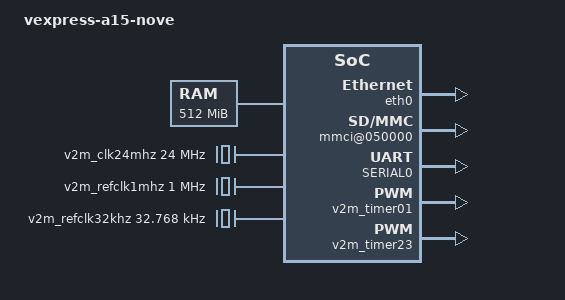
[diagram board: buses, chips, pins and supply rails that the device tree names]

#include <dt-bindings/interrupt-controller/arm-gic.h>

/ {
	compatible = "arm,vexpress";
	model = "vexpress-a15-nove";
	interrupt-parent = <&gic>;
	#address-cells = <2>;
	#size-cells = <2>;

	chosen {
		initrd-start = <0x0 0x81000000>;
		initrd-end = <0x0 0x82000000>;
	};
	aliases { };

	cpus {
		#address-cells = <1>;
		#size-cells = <0>;

		cpu@0 {
			device_type = "cpu";
			compatible = "arm,cortex-a15";
			reg = <0>;
			enable-method = "spin-table";
			cpu-clear-addr = <0x1C010034>;
			cpu-release-addr = <0x1C010030>;
		};

		cpu@1 {
			device_type = "cpu";
			compatible = "arm,cortex-a15";
			reg = <1>;
			enable-method = "spin-table";
			cpu-clear-addr = <0x1C010034>;
			cpu-release-addr = <0x1C010030>;
		};
	};

	memory {
		device_type = "memory"; 
		reg = <0x0 0x80000000 0x0 0x20000000>; /* 512 MB */
	};

	gic: gic { /* Generic Interrupt Controller */
      		compatible = "arm,cortex-a9-gic";
		reg = <0x0 0x2C001000 0x0 0x1000>,   /* GIC Dist */
		      <0x0 0x2C002000 0x0 0x1000>; /* GIC CPU */
		#interrupt-cells = <3>;
		interrupt-controller;
	};

	dcc {
		compatible = "arm,vexpress,config-bus";
		arm,vexpress,config-bridge = <&v2m_sysreg>;

		osc@0 {
			/* CPU PLL reference clock */
			compatible = "arm,vexpress-osc";
			arm,vexpress-sysreg,func = <1 0>;
			freq-range = <50000000 60000000>;
			#clock-cells = <0>;
			clock-output-names = "oscclk0";
		};

		osc@4 {
			/* Multiplexed AXI master clock */
			compatible = "arm,vexpress-osc";
			arm,vexpress-sysreg,func = <1 4>;
			freq-range = <20000000 40000000>;
			#clock-cells = <0>;
			clock-output-names = "oscclk4";
		};

		oscclk5: osc@5 {
			/* HDLCD PLL reference clock */
			compatible = "arm,vexpress-osc";
			arm,vexpress-sysreg,func = <1 5>;
			freq-range = <23750000 165000000>;
			#clock-cells = <0>;
			clock-output-names = "oscclk5";
		};

		smbclk: osc@6 {
			/* SMB clock */
			compatible = "arm,vexpress-osc";
			arm,vexpress-sysreg,func = <1 6>;
			freq-range = <20000000 50000000>;
			#clock-cells = <0>;
			clock-output-names = "oscclk6";
		};

		oscclk7: osc@7 {
			/* SYS PLL reference clock */
			compatible = "arm,vexpress-osc";
			arm,vexpress-sysreg,func = <1 7>;
			freq-range = <20000000 60000000>;
			#clock-cells = <0>;
			clock-output-names = "oscclk7";
		};

		osc@8 {
			/* DDR2 PLL reference clock */
			compatible = "arm,vexpress-osc";
			arm,vexpress-sysreg,func = <1 8>;
			freq-range = <40000000 40000000>;
			#clock-cells = <0>;
			clock-output-names = "oscclk8";
		};
	};

	smb {
		#address-cells = <1>;
		#size-cells = <1>;
		compatible = "simple-bus";

		motherboard {
			#address-cells = <1>;
			#size-cells = <1>;
			compatible = "simple-bus";

			eth0 {
				compatible = "smc91x";
				reg = <0x1A000000 0x1000>;
				interrupts = <GIC_SPI 15 IRQ_TYPE_LEVEL_HIGH>;
				switch = "br0";
			};

			iofpga {
				#address-cells = <1>;
				#size-cells = <1>;

				v2m_sysreg: sysreg@010000 { /* System Registers */
			      		compatible = "arm,vexpress-sysreg";
			      		reg = <0x1C010000 0x1000>;
				};

				v2m_sysctl: sysctl@020000 { /* System Controller */
			      		compatible = "arm,sp810";
			      		reg = <0x1C020000 0x1000>;
					clocks = <&v2m_refclk32khz>, <&v2m_refclk1mhz>, <&smbclk>;
					clock-names = "refclk", "timclk", "apb_pclk";
					#clock-cells = <1>;
					clock-output-names = "timerclken0", "timerclken1", "timerclken2", "timerclken3";
				};

				mmci@050000 { /* Multimedia Card Interface */
			      		compatible = "arm,pl180";
			      		reg = <0x1C050000 0x1000>;
					interrupts = <GIC_SPI 9 IRQ_TYPE_LEVEL_HIGH>,
						     <GIC_SPI 10 IRQ_TYPE_LEVEL_HIGH>;
					clocks = <&v2m_clk24mhz>, <&smbclk>;
					clock-names = "mclk", "apb_pclk";
				};

				kmi@060000 { /* Keyboard */
			      		compatible = "ambakmi";
			      		reg = <0x1C060000 0x1000>;
					interrupts = <GIC_SPI 12 IRQ_TYPE_LEVEL_HIGH>;
					clocks = <&v2m_clk24mhz>, <&smbclk>;
					clock-names = "KMIREFCLK", "apb_pclk";
				};

				kmi@070000 { /* Mouse */
			      		compatible = "ambakmi";
			      		reg = <0x1C070000 0x1000>;
					interrupts = <GIC_SPI 13 IRQ_TYPE_LEVEL_HIGH>;
					clocks = <&v2m_clk24mhz>, <&smbclk>;
					clock-names = "KMIREFCLK", "apb_pclk";
				};

				SERIAL0: v2m_serial0: uart@090000 {
			      		compatible = "arm,pl011";
			      		reg = <0x1C090000 0x1000>;
					clock-frequency = <24000000>;
					interrupts = <GIC_SPI 5 IRQ_TYPE_LEVEL_HIGH>;
					clocks = <&v2m_oscclk2>, <&smbclk>;
					clock-names = "uartclk", "apb_pclk";
				};

				v2m_timer01: timer@110000 {
			      		compatible = "arm,sp804";
			      		reg = <0x1C110000 0x1000>;
					interrupts = <GIC_SPI 2 IRQ_TYPE_LEVEL_HIGH>;
					clocks = <&v2m_sysctl 0>, <&v2m_refclk32khz>, <&smbclk>;
					clock-names = "timclken1", "timclken2", "apb_pclk";
				};

				v2m_timer23: timer@120000 {
			      		compatible = "arm,sp804";
			      		reg = <0x1C120000 0x1000>;
					interrupts = <GIC_SPI 3 IRQ_TYPE_LEVEL_HIGH>;
					clocks = <&v2m_sysctl 2>, <&v2m_refclk32khz>, <&smbclk>;
					clock-names = "timclken1", "timclken2", "apb_pclk";
				};

				RTC0: rtc@170000 {
			      		compatible = "arm,pl031";
			      		reg = <0x1C170000 0x1000>;
					interrupts = <GIC_SPI 4 IRQ_TYPE_LEVEL_HIGH>;
					clocks = <&smbclk>;
					clock-names = "apb_pclk";
				};

				clcd@1f0000 {
			      		compatible = "arm,pl111";
			      		reg = <0x1C1F0000 0x1000>;
					clocks = <&v2m_oscclk1>, <&smbclk>;
					clock-names = "clcdclk", "apb_pclk";
					use_dma = <0>;
					framebuffer = <0x18000000 0x00180000>;
				};
			};

			v2m_clk24mhz: clk24mhz {
				compatible = "fixed-clock";
				#clock-cells = <0>;
				clock-frequency = <24000000>;
				clock-output-names = "v2m:clk24mhz";
			};

			v2m_refclk1mhz: refclk1mhz {
				compatible = "fixed-clock";
				#clock-cells = <0>;
				clock-frequency = <1000000>;
				clock-output-names = "v2m:refclk1mhz";
			};

			v2m_refclk32khz: refclk32khz {
				compatible = "fixed-clock";
				#clock-cells = <0>;
				clock-frequency = <32768>;
				clock-output-names = "v2m:refclk32khz";
			};

			mcc {
				compatible = "arm,vexpress,config-bus";
				arm,vexpress,config-bridge = <&v2m_sysreg>;

				osc@0 {
					/* MCC static memory clock */
					compatible = "arm,vexpress-osc";
					arm,vexpress-sysreg,func = <1 0>;
					freq-range = <25000000 60000000>;
					#clock-cells = <0>;
					clock-output-names = "v2m:oscclk0";
				};

				v2m_oscclk1: osc@1 {
					/* CLCD clock */
					compatible = "arm,vexpress-osc";
					arm,vexpress-sysreg,func = <1 1>;
					freq-range = <23750000 63500000>;
					#clock-cells = <0>;
					clock-output-names = "v2m:oscclk1";
				};

				v2m_oscclk2: osc@2 {
					/* IO FPGA peripheral clock */
					compatible = "arm,vexpress-osc";
					arm,vexpress-sysreg,func = <1 2>;
					freq-range = <24000000 24000000>;
					#clock-cells = <0>;
					clock-output-names = "v2m:oscclk2";
				};

				volt@0 {
					/* Logic level voltage */
					compatible = "arm,vexpress-volt";
					arm,vexpress-sysreg,func = <2 0>;
					regulator-name = "VIO";
					regulator-always-on;
					label = "VIO";
				};

				temp@0 {
					/* MCC internal operating temperature */
					compatible = "arm,vexpress-temp";
					arm,vexpress-sysreg,func = <4 0>;
					label = "MCC";
				};

				reset@0 {
					compatible = "arm,vexpress-reset";
					arm,vexpress-sysreg,func = <5 0>;
				};

				muxfpga@0 {
					compatible = "arm,vexpress-muxfpga";
					arm,vexpress-sysreg,func = <7 0>;
				};

				shutdown@0 {
					compatible = "arm,vexpress-shutdown";
					arm,vexpress-sysreg,func = <8 0>;
				};

				reboot@0 {
					compatible = "arm,vexpress-reboot";
					arm,vexpress-sysreg,func = <9 0>;
				};

				dvimode@0 {
					compatible = "arm,vexpress-dvimode";
					arm,vexpress-sysreg,func = <11 0>;
				};
			};
		};
	};
};

